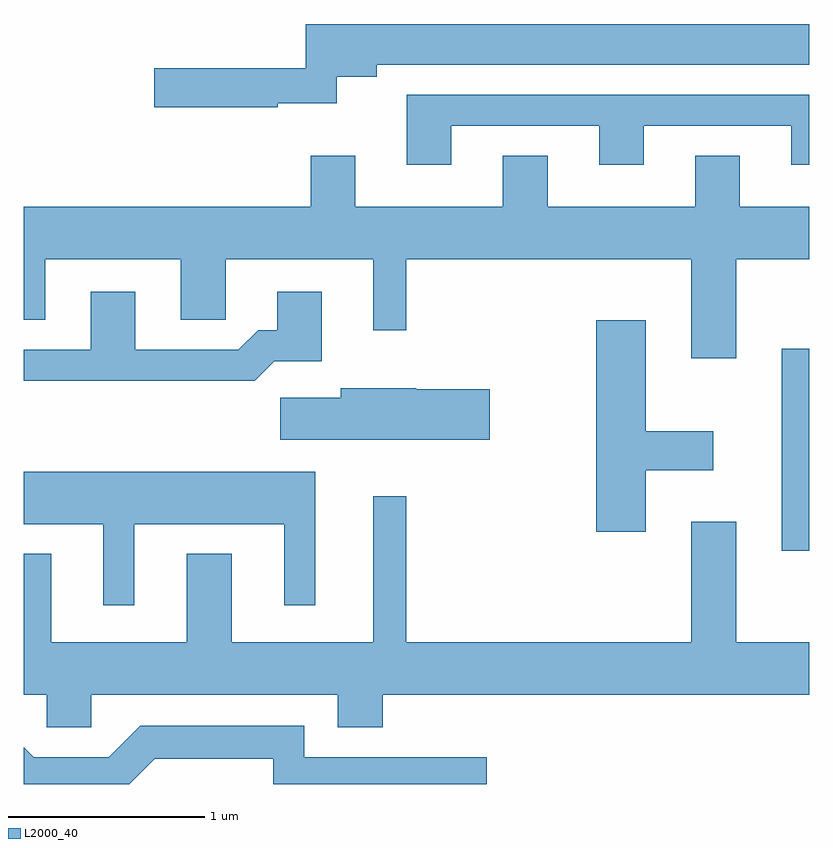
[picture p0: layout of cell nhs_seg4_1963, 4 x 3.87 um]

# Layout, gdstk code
import gdstk
lib = gdstk.Library(unit=1e-6, precision=1e-09)
def R(c, l, rs):  # rectangles x0, y0, x1, y1
    for r in rs: c.add(gdstk.rectangle(r[:2], r[2:], *l))
def P(c, l, *ps):  # polygons
    for p in ps: c.add(gdstk.Polygon(p, *l))
L2000_40 = (2000, 40)

nhs_seg4_1963 = lib.new_cell('nhs_seg4_1963')
R(nhs_seg4_1963, L2000_40, [(245.471,1373.171,245.611,1374.199)])
P(nhs_seg4_1963, L2000_40, [(242.904,1375.451),(243.204,1375.451),(243.204,1375.586),(243.409,1375.586),(243.409,1375.646),(245.611,1375.646),(245.611,1375.854),(243.046,1375.854),(243.046,1375.629),(242.276,1375.629),(242.276,1375.431),(242.904,1375.431)],
  [(243.789,1375.336),(244.541,1375.336),(244.541,1375.136),(244.769,1375.136),(244.769,1375.336),(245.521,1375.336),(245.521,1375.136),(245.611,1375.136),(245.611,1375.494),(243.561,1375.494),(243.561,1375.136),(243.789,1375.136)],
  [(245.239,1374.656),(245.611,1374.656),(245.611,1374.924),(245.259,1374.924),(245.259,1375.184),(245.031,1375.184),(245.031,1374.924),(244.279,1374.924),(244.279,1375.184),(244.051,1375.184),(244.051,1374.924),(243.299,1374.924),(243.299,1375.184),(243.071,1375.184),(243.071,1374.924),(241.611,1374.924),(241.611,1374.346),(241.719,1374.346),(241.719,1374.656),(242.411,1374.656),(242.411,1374.346),(242.639,1374.346),(242.639,1374.656),(243.391,1374.656),(243.391,1374.293),(243.559,1374.293),(243.559,1374.656),(245.011,1374.656),(245.011,1374.151),(245.239,1374.151)],
  [(242.887,1374.136),(243.129,1374.136),(243.129,1374.489),(242.901,1374.489),(242.901,1374.294),(242.804,1374.294),(242.704,1374.194),(242.179,1374.194),(242.179,1374.489),(241.951,1374.489),(241.951,1374.194),(241.611,1374.194),(241.611,1374.036),(242.787,1374.036)],
  [(244.779,1373.581),(245.124,1373.581),(245.124,1373.779),(244.779,1373.779),(244.779,1374.344),(244.526,1374.344),(244.526,1373.266),(244.779,1373.266)],
  [(243.984,1373.994),(243.61,1373.994),(243.61,1373.999),(243.226,1373.999),(243.226,1373.949),(242.916,1373.949),(242.916,1373.736),(243.984,1373.736)],
  [(242.174,1373.306),(242.936,1373.306),(242.936,1372.893),(243.094,1372.893),(243.094,1373.574),(241.611,1373.574),(241.611,1373.306),(242.016,1373.306),(242.016,1372.893),(242.174,1372.893)],
  [(241.954,1372.436),(243.211,1372.436),(243.211,1372.271),(243.439,1372.271),(243.439,1372.436),(245.611,1372.436),(245.611,1372.704),(245.239,1372.704),(245.239,1373.319),(245.011,1373.319),(245.011,1372.704),(243.559,1372.704),(243.559,1373.448),(243.391,1373.448),(243.391,1372.704),(242.669,1372.704),(242.669,1373.154),(242.441,1373.154),(242.441,1372.704),(241.749,1372.704),(241.749,1373.154),(241.611,1373.154),(241.611,1372.436),(241.726,1372.436),(241.726,1372.271),(241.954,1372.271)],
  [(242.277,1372.111),(242.881,1372.111),(242.881,1371.982),(243.968,1371.982),(243.968,1372.119),(243.039,1372.119),(243.039,1372.279),(242.204,1372.279),(242.044,1372.119),(241.662,1372.119),(241.611,1372.17),(241.611,1371.982),(242.148,1371.982)])

lib.write_gds('nhs_seg4_1963.gds')
